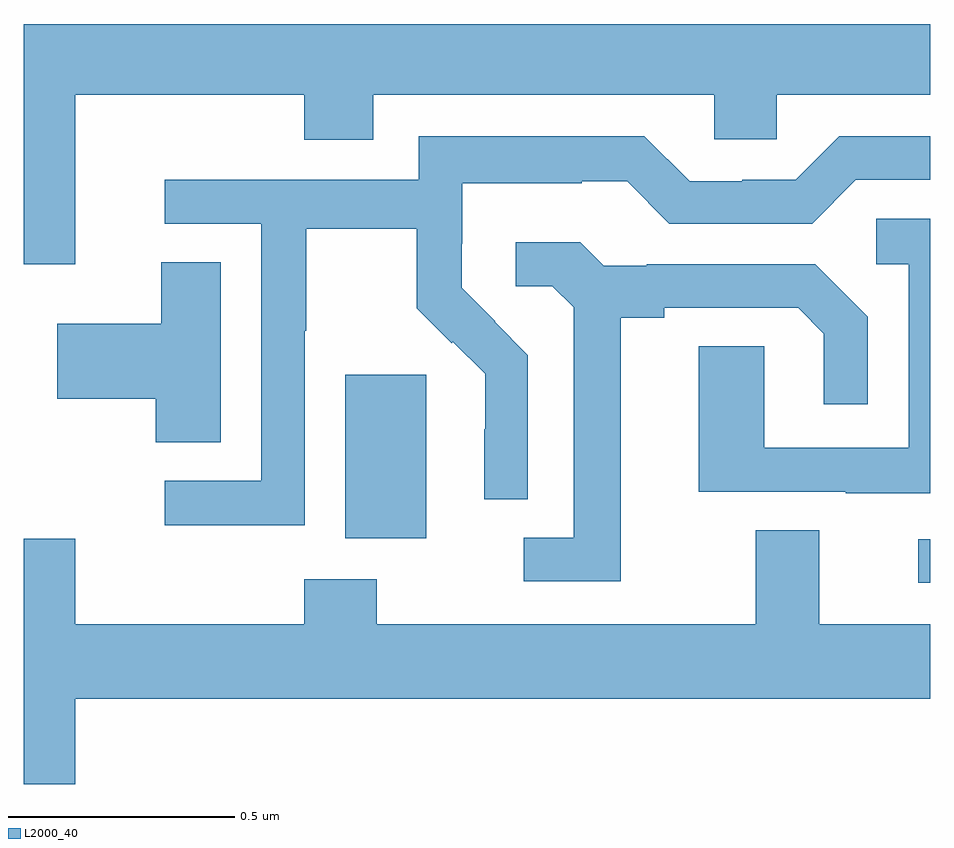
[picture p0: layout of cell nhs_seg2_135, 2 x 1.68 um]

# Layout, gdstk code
import gdstk
lib = gdstk.Library(unit=1e-6, precision=1e-09)
def R(c, l, rs):  # rectangles x0, y0, x1, y1
    for r in rs: c.add(gdstk.rectangle(r[:2], r[2:], *l))
def P(c, l, *ps):  # polygons
    for p in ps: c.add(gdstk.Polygon(p, *l))
L2000_40 = (2000, 40)

nhs_seg2_135 = lib.new_cell('nhs_seg2_135')
R(nhs_seg2_135, L2000_40, [(113.973,638.568,114,638.664), (112.709,638.666,112.888,639.027)])
P(nhs_seg2_135, L2000_40, [(112.114,639.644),(112.619,639.644),(112.619,639.545),(112.771,639.545),(112.771,639.644),(113.523,639.644),(113.523,639.546),(113.661,639.546),(113.661,639.644),(114,639.644),(114,639.8),(112,639.8),(112,639.27),(112.114,639.27)],
  [(112.62,639.124),(112.623,639.124),(112.623,639.348),(112.867,639.348),(112.867,639.173),(112.944,639.096),(112.947,639.099),(113.018,639.029),(113.018,638.906),(113.016,638.906),(113.016,638.752),(113.112,638.752),(113.112,639.07),(113.039,639.143),(113.04,639.144),(112.966,639.218),(112.966,639.315),(112.968,639.315),(112.968,639.449),(113.231,639.449),(113.231,639.453),(113.331,639.453),(113.424,639.36),(113.739,639.36),(113.835,639.456),(114,639.456),(114,639.552),(113.799,639.552),(113.703,639.456),(113.585,639.456),(113.585,639.453),(113.469,639.453),(113.369,639.553),(112.872,639.553),(112.872,639.456),(112.311,639.456),(112.311,639.36),(112.524,639.36),(112.524,638.793),(112.311,638.793),(112.311,638.695),(112.62,638.695)],
  [(114,639.371),(113.88,639.371),(113.88,639.27),(113.952,639.27),(113.952,638.865),(113.634,638.865),(113.634,639.089),(113.489,639.089),(113.489,638.769),(113.813,638.769),(113.813,638.765),(114,638.765)],
  [(113.317,639.152),(113.413,639.152),(113.413,639.174),(113.708,639.174),(113.765,639.117),(113.765,638.961),(113.862,638.961),(113.862,639.154),(113.746,639.27),(113.374,639.27),(113.374,639.267),(113.28,639.267),(113.228,639.319),(113.085,639.319),(113.085,639.222),(113.166,639.222),(113.213,639.175),(113.213,638.667),(113.103,638.667),(113.103,638.571),(113.317,638.571)],
  [(112.435,639.275),(112.304,639.275),(112.304,639.139),(112.074,639.139),(112.074,638.974),(112.292,638.974),(112.292,638.878),(112.435,638.878)],
  [(112.114,638.312),(114,638.312),(114,638.476),(113.755,638.476),(113.755,638.684),(113.615,638.684),(113.615,638.476),(112.779,638.476),(112.779,638.575),(112.619,638.575),(112.619,638.476),(112.114,638.476),(112.114,638.665),(112,638.665),(112,638.124),(112.114,638.124)])

lib.write_gds('nhs_seg2_135.gds')
